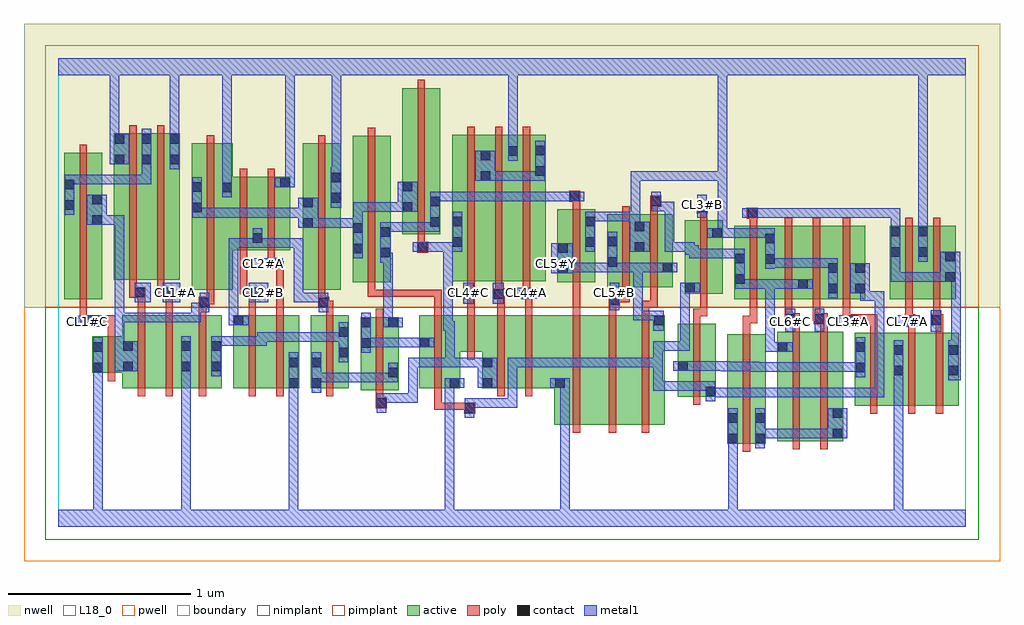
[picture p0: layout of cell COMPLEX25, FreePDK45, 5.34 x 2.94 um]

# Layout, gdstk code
import gdstk
lib = gdstk.Library(unit=1e-6, precision=1e-09)
def R(c, l, rs):  # rectangles x0, y0, x1, y1
    for r in rs: c.add(gdstk.rectangle(r[:2], r[2:], *l))
def A(c, l, x, y, w, h, nx, ny, dx, dy):  # array of equal rectangles
    R(c, l, [(x+i*dx, y+j*dy, x+i*dx+w, y+j*dy+h) for i in range(nx) for j in range(ny)])
active = (1, 0)
pwell = (2, 0)
nwell = (3, 0)
nimplant = (4, 0)
pimplant = (5, 0)
poly = (9, 0)
contact = (10, 0)
metal1 = (11, 0)
L18_0 = (18, 0)
boundary = (235, 0)

complex25 = lib.new_cell('COMPLEX25')
R(complex25, active, [(3.658,0.452,3.866,1.052), (3.658,0.452,3.718,1.052), (3.806,0.452,3.866,0.816), (3.93,0.466,4.11,1.066), (4.11,0.466,4.29,1.066), (4.23,0.466,4.29,0.92), (3.93,0.528,3.99,1.066), (2.712,0.556,2.772,1.156), (2.712,0.556,2.954,1.156), (2.954,0.556,3.106,1.156), (3.106,0.556,3.314,1.156), (3.254,0.556,3.314,1.156), (4.354,0.66,4.622,1.06), (4.562,0.66,4.622,1.06), (4.562,0.66,4.742,1.06), (4.742,0.66,4.922,1.06), (4.862,0.66,4.922,1.06), (3.386,0.71,3.594,1.11), (3.534,0.71,3.594,1.11), (1.652,0.746,1.86,1.146), (1.8,0.746,1.86,1.146), (0.35,0.756,0.53,1.156), (0.35,0.756,0.41,1.04), (0.53,0.756,0.728,1.156), (0.668,0.756,0.892,1.156), (0.668,0.756,0.728,1.018), (0.832,0.756,0.892,1.156), (0.956,0.756,1.016,1.156), (0.956,0.756,1.136,1.156), (1.136,0.756,1.316,1.156), (1.256,0.756,1.316,1.156), (1.38,0.756,1.44,1.156), (1.38,0.756,1.588,1.156), (1.528,0.756,1.588,1.156), (1.652,0.756,1.712,1.146), (1.972,0.756,2.032,1.156), (1.972,0.756,2.196,1.156), (2.136,0.756,2.196,0.956), (2.316,0.756,2.496,1.156), (2.316,0.756,2.376,0.956), (2.496,0.756,2.772,1.156), (3.386,0.756,3.446,0.948), (4.354,0.756,4.414,1.06), (0.186,0.84,0.246,1.04), (0.186,0.84,0.41,1.04), (2.136,0.956,2.376,1.156), (0.032,1.244,0.24,2.044), (0.032,1.244,0.092,2.044), (0.18,1.244,0.24,2.044), (3.696,1.244,3.756,1.644), (3.696,1.244,3.92,1.644), (3.86,1.244,3.92,1.644), (3.86,1.244,4.1,1.644), (4.04,1.244,4.1,1.644), (4.04,1.244,4.264,1.644), (4.204,1.244,4.264,1.644), (4.204,1.244,4.412,1.644), (4.352,1.244,4.412,1.644), (4.546,1.244,4.606,1.644), (4.546,1.244,4.758,1.644), (4.698,1.244,4.758,1.644), (4.698,1.244,4.906,1.644), (4.846,1.244,4.906,1.644), (3.424,1.274,3.632,1.674), (3.424,1.274,3.484,1.644), (3.572,1.274,3.632,1.674), (0.728,1.296,0.788,2.044), (0.728,1.296,0.952,2.096), (1.336,1.296,1.544,2.096), (1.336,1.296,1.396,2.044), (1.484,1.296,1.544,2.096), (3,1.308,3.06,1.708), (3,1.308,3.208,1.708), (3.148,1.308,3.36,1.708), (3.3,1.308,3.36,1.644), (1.608,1.336,1.816,2.136), (1.608,1.336,1.668,2.044), (1.756,1.336,1.816,2.044), (2.728,1.336,2.936,1.736), (2.728,1.336,2.788,1.644), (2.876,1.336,2.936,1.736), (2.152,1.342,2.364,2.142), (2.152,1.342,2.212,2.044), (2.304,1.342,2.516,2.142), (2.456,1.342,2.664,2.142), (0.304,1.35,0.512,2.15), (0.452,1.35,0.664,2.15), (0.604,1.35,0.664,2.15), (2.304,1.412,2.364,2.142), (2.604,1.452,2.664,2.142), (0.452,1.462,0.512,2.15), (3.148,1.498,3.208,1.708), (0.892,1.512,1.118,1.912), (1.058,1.512,1.268,1.912), (1.208,1.512,1.268,1.912), (1.058,1.548,1.118,1.644), (0.892,1.572,0.952,1.884), (0.304,1.576,0.364,2.15), (1.88,1.598,2.088,2.398), (1.88,1.598,1.94,2.044), (2.028,1.598,2.088,2.16), (2.456,1.686,2.516,2.142)])
R(complex25, pwell, [(-0.188,-0.188,5.148,1.2)])
R(complex25, nwell, [(-0.188,1.2,5.148,2.748)])
R(complex25, nimplant, [(-0.072,-0.072,5.032,1.2)])
R(complex25, pimplant, [(-0.072,1.2,5.032,2.632)])
A(complex25, poly, 2.236, 1.262, 0.04, 0.076, 3, 1, 0.152, 0)
A(complex25, poly, 2.236, 1.298, 0.04, 0.888, 3, 1, 0.152, 0)
R(complex25, poly, [(3.742,0.408,3.782,1.096), (4.014,0.422,4.054,1.11), (4.166,0.422,4.206,1.11), (2.812,0.512,2.852,1.2), (3.01,0.512,3.05,1.2), (3.19,0.512,3.23,1.2), (4.438,0.616,4.478,1.104), (4.646,0.616,4.686,1.104), (4.798,0.616,4.838,1.104), (2.218,0.618,2.278,0.678), (2.056,0.638,2.096,0.678), (2.056,0.638,2.096,0.678), (2.056,0.638,2.096,0.678), (2.056,0.638,2.096,0.752), (2.056,0.638,2.258,0.678), (2.218,0.638,2.258,0.678), (2.218,0.638,2.258,0.678), (1.736,0.646,1.796,0.706), (1.736,0.666,1.776,0.742), (3.47,0.666,3.51,1.154), (1.736,0.702,1.776,1.19), (0.434,0.712,0.474,1.2), (0.586,0.712,0.626,1.2), (0.768,0.712,0.808,1.2), (1.04,0.712,1.08,1.2), (1.192,0.712,1.232,1.2), (1.464,0.712,1.504,1.2), (2.056,0.712,2.096,1.2), (2.4,0.712,2.44,1.2), (2.552,0.712,2.592,1.2), (0.27,0.796,0.31,1.084), (2.236,0.912,2.276,1.2), (0.27,1.044,0.31,1.136), (3.742,1.056,3.782,1.152), (4.438,1.064,4.478,1.14), (4.646,1.064,4.686,1.14), (4.798,1.064,4.838,1.14), (4.014,1.07,4.054,1.146), (4.166,1.07,4.206,1.146), (0.136,1.096,0.31,1.156), (4.29,1.1,4.478,1.16), (4.626,1.1,4.686,1.16), (4.646,1.1,4.686,1.14), (4.646,1.1,4.686,1.14), (4.77,1.1,4.838,1.16), (3.972,1.106,4.054,1.166), (4.13,1.106,4.206,1.166), (3.742,1.112,3.82,1.152), (3.78,1.112,3.82,1.152), (3.78,1.112,3.82,1.152), (3.78,1.112,3.82,1.24), (3.47,1.114,3.51,1.19), (0.116,1.116,0.156,1.24), (0.116,1.116,0.176,1.156), (0.136,1.116,0.176,1.156), (4.288,1.12,4.328,1.24), (4.288,1.12,4.33,1.16), (4.29,1.12,4.33,1.16), (4.63,1.12,4.67,1.24), (4.782,1.12,4.822,1.24), (4.782,1.12,4.822,1.16), (4.782,1.12,4.822,1.16), (3.972,1.126,4.012,1.166), (3.972,1.126,4.012,1.166), (3.972,1.126,4.012,1.24), (4.124,1.126,4.164,1.24), (4.124,1.126,4.17,1.166), (4.13,1.126,4.17,1.166), (3.47,1.15,3.548,1.19), (3.508,1.15,3.548,1.27), (3.508,1.15,3.548,1.19), (3.508,1.15,3.548,1.19), (0.434,1.16,0.474,1.29), (0.586,1.16,0.626,1.29), (0.768,1.16,0.808,1.236), (1.04,1.16,1.08,1.29), (1.192,1.16,1.232,1.45), (1.464,1.16,1.504,1.236), (2.056,1.16,2.096,1.296), (2.236,1.16,2.276,1.282), (2.4,1.16,2.44,1.282), (2.552,1.16,2.592,1.282), (2.812,1.16,2.852,1.236), (3.01,1.16,3.05,1.248), (3.19,1.16,3.23,1.236), (0.768,1.196,0.828,1.256), (1.42,1.196,1.48,1.256), (1.44,1.196,1.48,1.236), (1.44,1.196,1.504,1.236), (2.812,1.196,2.852,1.236), (2.812,1.196,2.852,1.236), (2.812,1.196,2.852,1.236), (2.812,1.196,2.852,1.332), (3.19,1.196,3.244,1.236), (3.204,1.196,3.244,1.236), (3.204,1.196,3.276,1.236), (3.236,1.196,3.276,1.304), (0.116,1.2,0.156,2.088), (3.78,1.2,3.82,1.688), (3.972,1.2,4.012,1.688), (4.124,1.2,4.164,1.688), (4.288,1.2,4.328,1.688), (4.63,1.2,4.67,1.688), (4.782,1.2,4.822,1.688), (3.01,1.208,3.07,1.268), (0.788,1.216,0.828,1.256), (0.788,1.216,0.852,1.256), (0.812,1.216,0.852,1.292), (1.42,1.216,1.46,1.292), (3.03,1.228,3.07,1.268), (3.03,1.228,3.124,1.268), (3.084,1.228,3.124,1.304), (3.508,1.23,3.548,1.718), (2.216,1.242,2.276,1.302), (2.38,1.242,2.44,1.302), (2.532,1.242,2.592,1.302), (0.388,1.25,0.474,1.31), (0.434,1.25,0.474,1.29), (0.434,1.25,0.474,1.29), (0.54,1.25,0.626,1.31), (0.586,1.25,0.626,1.29), (0.586,1.25,0.626,1.29), (1.038,1.25,1.098,1.31), (0.812,1.252,0.852,2.14), (1.42,1.252,1.46,2.14), (1.692,1.256,1.732,1.296), (1.692,1.256,1.732,1.296), (1.692,1.256,1.732,1.296), (1.692,1.256,1.732,1.332), (1.692,1.256,1.896,1.296), (1.856,1.256,1.896,1.296), (1.856,1.256,1.896,1.296), (1.856,1.256,1.896,1.296), (1.856,1.256,2.096,1.296), (2.056,1.256,2.096,1.296), (2.236,1.262,2.276,1.302), (2.236,1.262,2.276,1.302), (2.388,1.262,2.428,1.302), (2.388,1.262,2.428,1.302), (2.54,1.262,2.58,1.302), (2.54,1.262,2.58,1.302), (3.084,1.264,3.124,1.752), (3.236,1.264,3.276,1.752), (0.388,1.27,0.428,1.346), (0.54,1.27,0.58,1.346), (0.992,1.27,1.032,1.508), (0.992,1.27,1.078,1.31), (1.038,1.27,1.078,1.31), (1.692,1.292,1.732,2.18), (2.812,1.292,2.852,1.78), (0.388,1.306,0.428,2.194), (0.54,1.306,0.58,2.194), (1.144,1.41,1.204,1.47), (1.164,1.41,1.204,1.45), (1.164,1.41,1.232,1.45), (1.144,1.43,1.184,1.508), (0.992,1.468,1.032,1.956), (1.144,1.468,1.184,1.956), (1.962,1.498,2.022,1.558), (1.964,1.518,2.004,1.594), (1.964,1.554,2.004,2.442), (3.78,1.648,3.82,1.724), (3.508,1.678,3.548,1.754), (3.764,1.684,3.824,1.744), (3.236,1.712,3.276,1.788), (3.49,1.714,3.55,1.774), (2.812,1.74,2.852,1.816), (3.236,1.748,3.296,1.808), (2.792,1.776,2.852,1.836)])
R(complex25, contact, [(3.662,0.456,3.714,0.508), (3.81,0.456,3.862,0.508), (4.234,0.484,4.286,0.536), (3.662,0.568,3.714,0.62), (3.81,0.568,3.862,0.62), (4.234,0.596,4.286,0.648), (2.222,0.622,2.274,0.674), (1.74,0.65,1.792,0.702), (3.538,0.714,3.59,0.766), (1.26,0.76,1.312,0.812), (1.384,0.76,1.436,0.812), (2.14,0.76,2.192,0.812), (2.32,0.76,2.372,0.812), (2.716,0.76,2.768,0.812), (1.804,0.816,1.856,0.868), (4.566,0.828,4.618,0.88), (4.866,0.828,4.918,0.88), (0.19,0.844,0.242,0.896), (4.358,0.844,4.41,0.896), (0.354,0.85,0.406,0.902), (0.672,0.85,0.724,0.902), (0.836,0.85,0.888,0.902), (3.39,0.852,3.442,0.904), (1.26,0.872,1.312,0.924), (1.384,0.872,1.436,0.924), (2.32,0.872,2.372,0.924), (1.532,0.926,1.584,0.978), (4.566,0.94,4.618,0.992), (4.866,0.94,4.918,0.992), (0.19,0.956,0.242,1.008), (3.934,0.956,3.986,1.008), (4.358,0.956,4.41,1.008), (0.354,0.962,0.406,1.014), (0.672,0.962,0.724,1.014), (0.836,0.962,0.888,1.014), (1.656,0.978,1.708,1.03), (1.976,0.98,2.028,1.032), (1.532,1.038,1.584,1.09), (1.656,1.09,1.708,1.142), (1.804,1.09,1.856,1.142), (0.14,1.1,0.192,1.152), (0.96,1.1,1.012,1.152), (3.258,1.1,3.31,1.152), (4.294,1.104,4.346,1.156), (4.63,1.104,4.682,1.156), (4.774,1.104,4.826,1.156), (3.976,1.11,4.028,1.162), (4.134,1.11,4.186,1.162), (0.772,1.2,0.824,1.252), (1.424,1.2,1.476,1.252), (3.014,1.212,3.066,1.264), (2.22,1.246,2.272,1.298), (2.384,1.246,2.436,1.298), (2.536,1.246,2.588,1.298), (0.418,1.254,0.47,1.306), (0.57,1.254,0.622,1.306), (1.042,1.254,1.094,1.306), (4.208,1.276,4.26,1.328), (4.356,1.276,4.408,1.328), (3.428,1.282,3.48,1.334), (4.044,1.3,4.096,1.352), (3.7,1.328,3.752,1.38), (4.85,1.338,4.902,1.39), (2.732,1.386,2.784,1.438), (4.208,1.388,4.26,1.44), (4.356,1.388,4.408,1.44), (3.304,1.392,3.356,1.444), (1.148,1.414,1.2,1.466), (3.004,1.42,3.056,1.472), (3.864,1.438,3.916,1.49), (3.7,1.44,3.752,1.492), (4.85,1.45,4.902,1.502), (1.76,1.472,1.812,1.524), (4.55,1.476,4.602,1.528), (4.702,1.476,4.754,1.528), (1.612,1.494,1.664,1.546), (2.732,1.498,2.784,1.55), (1.966,1.502,2.018,1.554), (3.152,1.502,3.204,1.554), (2.156,1.53,2.208,1.582), (2.88,1.53,2.932,1.582), (3.004,1.532,3.056,1.584), (3.864,1.55,3.916,1.602), (1.062,1.552,1.114,1.604), (3.576,1.578,3.628,1.63), (1.76,1.584,1.812,1.636), (4.55,1.588,4.602,1.64), (4.702,1.588,4.754,1.64), (1.612,1.606,1.664,1.658), (3.152,1.614,3.204,1.666), (1.34,1.634,1.392,1.686), (2.032,1.64,2.084,1.692), (2.156,1.642,2.208,1.694), (2.88,1.642,2.932,1.694), (0.184,1.65,0.236,1.702), (3.768,1.688,3.82,1.74), (0.732,1.718,0.784,1.77), (3.494,1.718,3.546,1.77), (1.884,1.722,1.936,1.774), (0.036,1.732,0.088,1.784), (1.34,1.746,1.392,1.798), (2.032,1.752,2.084,1.804), (3.24,1.752,3.292,1.804), (0.184,1.762,0.236,1.814), (1.488,1.772,1.54,1.824), (2.796,1.78,2.848,1.832), (0.896,1.828,0.948,1.88), (0.732,1.83,0.784,1.882), (1.884,1.834,1.936,1.886), (0.036,1.844,0.088,1.896), (1.212,1.856,1.264,1.908), (1.488,1.884,1.54,1.936), (2.308,1.89,2.36,1.942), (2.608,1.918,2.66,1.97), (0.308,1.982,0.36,2.034), (0.456,1.982,0.508,2.034), (0.608,1.982,0.66,2.034), (2.308,2.002,2.36,2.054), (2.46,2.028,2.512,2.08), (2.608,2.03,2.66,2.082), (0.308,2.094,0.36,2.146), (0.456,2.094,0.508,2.146), (0.608,2.094,0.66,2.146)])
A(complex25, metal1, 0.732, 1.69, 0.162, 0.052, 3, 1, 0.11, 0)
A(complex25, metal1, 0.842, 1.69, 0.052, 0.052, 3, 1, 0.11, 0)
R(complex25, metal1, [(0,0,4.96,0.092), (0.19,0.04,0.242,0.092), (0.19,0.04,0.242,0.092), (0.19,0.04,0.242,0.092), (0.19,0.04,0.242,0.092), (0.19,0.04,0.242,0.092), (0.19,0.04,0.242,0.092), (0.19,0.04,0.242,0.092), (0.19,0.04,0.242,0.092), (0.19,0.04,0.242,0.092), (0.19,0.04,0.242,0.092), (0.19,0.04,0.242,0.092), (0.19,0.04,0.242,0.092), (0.19,0.04,0.242,0.092), (0.19,0.04,0.242,0.092), (0.19,0.04,0.242,0.092), (0.19,0.04,0.242,0.092), (0.19,0.04,0.242,0.868), (0.672,0.04,0.724,0.092), (0.672,0.04,0.724,0.092), (0.672,0.04,0.724,0.092), (0.672,0.04,0.724,0.092), (0.672,0.04,0.724,0.092), (0.672,0.04,0.724,0.092), (0.672,0.04,0.724,0.092), (0.672,0.04,0.724,0.092), (0.672,0.04,0.724,0.092), (0.672,0.04,0.724,0.092), (0.672,0.04,0.724,0.092), (0.672,0.04,0.724,0.092), (0.672,0.04,0.724,0.874), (1.26,0.04,1.312,0.092), (1.26,0.04,1.312,0.092), (1.26,0.04,1.312,0.092), (1.26,0.04,1.312,0.092), (1.26,0.04,1.312,0.092), (1.26,0.04,1.312,0.092), (1.26,0.04,1.312,0.092), (1.26,0.04,1.312,0.092), (1.26,0.04,1.312,0.092), (1.26,0.04,1.312,0.092), (1.26,0.04,1.312,0.092), (1.26,0.04,1.312,0.092), (1.26,0.04,1.312,0.784), (2.112,0.04,2.164,0.092), (2.112,0.04,2.164,0.092), (2.112,0.04,2.164,0.092), (2.112,0.04,2.164,0.092), (2.112,0.04,2.164,0.092), (2.112,0.04,2.164,0.092), (2.112,0.04,2.164,0.092), (2.112,0.04,2.164,0.092), (2.112,0.04,2.164,0.092), (2.112,0.04,2.164,0.092), (2.112,0.04,2.164,0.092), (2.112,0.04,2.164,0.092), (2.112,0.04,2.164,0.812), (2.744,0.04,2.796,0.092), (2.744,0.04,2.796,0.092), (2.744,0.04,2.796,0.092), (2.744,0.04,2.796,0.092), (2.744,0.04,2.796,0.092), (2.744,0.04,2.796,0.092), (2.744,0.04,2.796,0.092), (2.744,0.04,2.796,0.092), (2.744,0.04,2.796,0.812), (3.662,0.04,3.714,0.092), (3.662,0.04,3.714,0.092), (3.662,0.04,3.714,0.092), (3.662,0.04,3.714,0.092), (3.662,0.04,3.714,0.48), (4.566,0.04,4.618,0.092), (4.566,0.04,4.618,0.092), (4.566,0.04,4.618,0.092), (4.566,0.04,4.618,0.092), (4.566,0.04,4.618,0.092), (4.566,0.04,4.618,0.092), (4.566,0.04,4.618,0.092), (4.566,0.04,4.618,0.092), (4.566,0.04,4.618,0.092), (4.566,0.04,4.618,0.092), (4.566,0.04,4.618,0.092), (4.566,0.04,4.618,0.092), (4.566,0.04,4.618,0.852), (3.662,0.428,3.714,0.48), (3.662,0.428,3.714,0.48), (3.662,0.428,3.714,0.48), (3.662,0.428,3.714,0.48), (3.662,0.428,3.714,0.648), (3.81,0.428,3.862,0.648), (3.81,0.484,3.958,0.536), (3.906,0.484,3.958,0.536), (3.906,0.484,4.026,0.536), (3.974,0.484,4.026,0.536), (3.974,0.484,4.068,0.536), (4.016,0.484,4.068,0.536), (4.016,0.484,4.136,0.536), (4.084,0.484,4.136,0.536), (4.084,0.484,4.258,0.536), (4.206,0.484,4.314,0.648), (2.222,0.594,2.274,0.702), (1.74,0.622,1.792,0.73), (2.222,0.65,2.384,0.702), (2.332,0.65,2.384,0.702), (2.332,0.65,2.384,0.702), (2.332,0.65,2.384,0.702), (2.332,0.65,2.51,0.702), (2.458,0.65,2.51,0.702), (2.458,0.65,2.51,0.922), (1.74,0.678,1.818,0.73), (1.766,0.678,1.818,0.73), (1.766,0.678,1.966,0.73), (1.914,0.678,1.966,0.73), (1.914,0.678,1.966,0.922), (3.538,0.686,3.59,0.794), (3.538,0.706,3.746,0.758), (3.694,0.706,3.746,0.758), (3.694,0.706,3.848,0.758), (3.796,0.706,3.848,0.758), (3.796,0.706,3.862,0.758), (3.81,0.706,3.862,0.758), (3.81,0.706,3.958,0.758), (3.906,0.706,3.958,0.758), (3.906,0.706,4.026,0.758), (3.974,0.706,4.026,0.758), (3.974,0.706,4.068,0.758), (4.016,0.706,4.068,0.758), (4.016,0.706,4.158,0.758), (4.106,0.706,4.158,0.758), (4.106,0.706,4.178,0.758), (4.126,0.706,4.178,0.758), (4.126,0.706,4.268,0.758), (4.216,0.706,4.268,0.758), (4.216,0.706,4.492,0.758), (4.44,0.706,4.492,0.758), (4.44,0.706,4.514,0.758), (4.462,0.706,4.514,0.758), (4.462,0.706,4.514,0.758), (4.462,0.706,4.514,0.758), (4.462,0.706,4.514,1.288), (1.26,0.732,1.312,0.952), (1.384,0.732,1.436,0.952), (3.252,0.742,3.48,0.794), (3.252,0.742,3.304,0.922), (3.428,0.742,3.48,0.794), (3.428,0.742,3.48,0.794), (3.428,0.742,3.48,0.794), (3.428,0.742,3.59,0.794), (2.112,0.76,2.22,0.812), (2.292,0.76,2.4,0.924), (2.688,0.76,2.796,0.812), (1.384,0.788,1.546,0.84), (1.494,0.788,1.546,0.84), (1.494,0.788,1.546,0.84), (1.494,0.788,1.546,0.84), (1.494,0.788,1.702,0.84), (1.65,0.788,1.702,0.84), (1.65,0.788,1.702,0.84), (1.65,0.788,1.702,0.84), (1.65,0.788,1.856,0.84), (1.804,0.788,1.856,0.896), (4.566,0.8,4.618,1.02), (4.866,0.8,4.934,1.02), (0.19,0.816,0.242,1.036), (4.358,0.816,4.41,1.036), (0.672,0.822,0.724,1.042), (0.836,0.822,0.888,1.042), (3.78,0.846,3.862,0.898), (3.78,0.846,3.832,0.902), (3.81,0.846,3.862,0.898), (3.81,0.846,3.958,0.898), (3.906,0.846,3.958,0.898), (3.906,0.846,4.026,0.898), (3.974,0.846,4.026,0.898), (3.974,0.846,4.068,0.898), (4.016,0.846,4.068,0.898), (4.016,0.846,4.158,0.898), (4.106,0.846,4.158,0.898), (4.106,0.846,4.208,0.898), (4.156,0.846,4.208,0.898), (4.156,0.846,4.41,0.898), (0.308,0.85,0.434,1.014), (3.62,0.85,3.832,0.902), (3.62,0.85,3.672,0.904), (3.362,0.852,3.47,0.904), (3.418,0.852,3.48,0.904), (3.428,0.852,3.48,0.904), (3.428,0.852,3.672,0.904), (3.62,0.852,3.672,0.904), (3.62,0.852,3.672,0.904), (1.914,0.87,1.966,0.922), (1.914,0.87,1.966,0.922), (1.914,0.87,1.966,0.922), (1.914,0.87,1.966,0.922), (1.914,0.87,1.966,0.922), (1.914,0.87,2.076,0.922), (2.024,0.87,2.076,0.922), (2.024,0.87,2.166,0.922), (2.114,0.87,2.166,0.922), (2.114,0.87,2.166,0.922), (2.114,0.87,2.166,0.922), (2.114,0.87,2.266,0.922), (2.114,0.87,2.166,1.122), (2.214,0.87,2.266,0.922), (2.214,0.87,2.344,0.922), (2.458,0.87,2.51,0.922), (2.458,0.87,2.636,0.922), (2.584,0.87,2.636,0.922), (2.584,0.87,2.636,0.922), (2.584,0.87,2.636,0.922), (2.584,0.87,2.746,0.922), (2.694,0.87,2.746,0.922), (2.694,0.87,2.746,0.922), (2.694,0.87,2.746,0.922), (2.694,0.87,2.946,0.922), (2.894,0.87,2.946,0.922), (2.894,0.87,2.946,0.922), (2.894,0.87,2.946,0.922), (2.894,0.87,3.166,0.922), (3.114,0.87,3.166,0.922), (3.114,0.87,3.166,0.922), (3.114,0.87,3.166,0.922), (3.114,0.87,3.304,0.922), (3.252,0.87,3.304,0.922), (3.252,0.87,3.304,0.922), (3.252,0.87,3.304,0.922), (3.252,0.87,3.304,0.922), (3.252,0.87,3.304,1.014), (1.532,0.898,1.584,1.118), (1.656,0.95,1.708,1.17), (3.864,0.956,3.916,1.008), (3.864,0.956,3.958,1.008), (3.864,0.956,3.916,1.352), (3.906,0.956,4.014,1.008), (0.308,0.962,0.36,1.168), (3.252,0.962,3.304,1.014), (3.252,0.962,3.452,1.014), (3.4,0.962,3.452,1.014), (3.4,0.962,3.452,1.014), (3.4,0.962,3.452,1.014), (3.4,0.962,3.452,1.014), (3.4,0.962,3.452,1.014), (3.4,0.962,3.452,1.014), (3.4,0.962,3.452,1.014), (3.4,0.962,3.452,1.334), (4.882,0.968,4.934,1.39), (1.656,0.98,1.708,1.032), (1.656,0.98,1.708,1.032), (1.656,0.98,1.818,1.032), (1.766,0.98,1.818,1.032), (1.766,0.98,2,1.032), (1.948,0.98,2.056,1.032), (0.836,0.99,1.004,1.042), (0.952,0.99,1.004,1.042), (0.952,0.99,1.004,1.042), (0.952,0.99,1.004,1.042), (0.952,0.99,1.126,1.042), (1.074,0.99,1.126,1.042), (1.074,0.99,1.14,1.042), (1.088,0.99,1.14,1.062), (1.088,1.01,1.338,1.062), (1.286,1.01,1.338,1.062), (1.286,1.01,1.338,1.062), (1.286,1.01,1.338,1.062), (1.286,1.01,1.554,1.062), (1.502,1.01,1.554,1.062), (1.502,1.01,1.584,1.062), (3.974,1.066,4.028,1.19), (4.134,1.066,4.186,1.19), (4.77,1.066,4.826,1.184), (2.104,1.07,2.166,1.122), (2.104,1.07,2.156,1.554), (3.252,1.072,3.31,1.18), (1.776,1.09,1.884,1.142), (1.776,1.09,1.828,1.496), (0.106,1.094,0.22,1.152), (4.266,1.094,4.374,1.156), (4.586,1.094,4.71,1.156), (0.932,1.1,1.04,1.152), (0.932,1.1,0.984,1.576), (0.308,1.116,0.36,1.168), (0.308,1.116,0.36,1.168), (0.308,1.116,0.36,1.168), (0.308,1.116,0.47,1.168), (0.308,1.116,0.36,1.702), (0.418,1.116,0.47,1.168), (0.418,1.116,0.47,1.168), (0.418,1.116,0.47,1.168), (0.418,1.116,0.668,1.168), (0.616,1.116,0.668,1.168), (0.616,1.116,0.668,1.168), (0.616,1.116,0.668,1.168), (0.616,1.116,0.778,1.168), (0.726,1.116,0.778,1.224), (3.142,1.128,3.194,1.18), (3.142,1.128,3.194,1.18), (3.142,1.128,3.194,1.18), (3.142,1.128,3.194,1.18), (3.142,1.128,3.194,1.18), (3.142,1.128,3.304,1.18), (3.142,1.128,3.194,1.444), (3.252,1.128,3.304,1.18), (3.252,1.128,3.304,1.18), (0.726,1.172,0.824,1.224), (0.772,1.172,0.824,1.28), (1.424,1.172,1.476,1.28), (3.014,1.184,3.066,1.334), (2.214,1.218,2.272,1.334), (2.374,1.218,2.436,1.334), (0.418,1.226,0.506,1.334), (0.57,1.226,0.666,1.334), (1.042,1.226,1.146,1.334), (1.286,1.228,1.338,1.28), (1.286,1.228,1.338,1.28), (1.286,1.228,1.338,1.28), (1.286,1.228,1.476,1.28), (1.286,1.228,1.338,1.576), (4.384,1.236,4.436,1.328), (4.384,1.236,4.484,1.288), (4.432,1.236,4.484,1.288), (4.432,1.236,4.484,1.288), (4.432,1.236,4.484,1.288), (4.432,1.236,4.484,1.288), (4.432,1.236,4.484,1.288), (4.432,1.236,4.514,1.288), (2.506,1.246,2.618,1.306), (4.208,1.248,4.26,1.468), (4.328,1.276,4.436,1.44), (3.4,1.282,3.508,1.334), (3.7,1.3,3.752,1.52), (3.7,1.3,3.782,1.352), (3.73,1.3,3.782,1.352), (3.73,1.3,3.916,1.352), (3.864,1.3,3.916,1.352), (3.864,1.3,3.916,1.352), (3.864,1.3,3.916,1.352), (3.864,1.3,3.916,1.352), (3.864,1.3,3.916,1.352), (3.864,1.3,3.916,1.352), (3.864,1.3,3.916,1.352), (3.864,1.3,3.916,1.352), (3.864,1.3,3.916,1.352), (3.864,1.3,3.958,1.352), (3.906,1.3,3.958,1.352), (3.906,1.3,4.026,1.352), (3.974,1.3,4.026,1.352), (3.974,1.3,4.068,1.352), (4.016,1.3,4.124,1.352), (4.55,1.338,4.602,1.39), (4.55,1.338,4.712,1.39), (4.55,1.338,4.602,1.5), (4.66,1.338,4.712,1.39), (4.66,1.338,4.712,1.39), (4.66,1.338,4.712,1.39), (4.66,1.338,4.874,1.39), (4.822,1.338,4.874,1.39), (4.822,1.338,4.874,1.39), (4.822,1.338,4.93,1.502), (4.878,1.338,4.93,1.39), (4.878,1.338,4.934,1.39), (4.882,1.338,4.934,1.39), (4.882,1.338,4.934,1.39), (4.882,1.338,4.934,1.39), (4.882,1.338,4.934,1.39), (4.882,1.338,4.934,1.39), (4.882,1.338,4.934,1.39), (2.694,1.386,2.812,1.55), (2.76,1.392,2.812,1.444), (2.76,1.392,2.812,1.444), (2.76,1.392,2.93,1.444), (2.878,1.392,2.93,1.444), (2.878,1.392,3.056,1.444), (3.004,1.392,3.056,1.444), (3.004,1.392,3.056,1.444), (3.004,1.392,3.056,1.612), (3.004,1.392,3.194,1.444), (3.142,1.392,3.194,1.444), (3.142,1.392,3.194,1.444), (3.142,1.392,3.194,1.444), (3.142,1.392,3.286,1.444), (3.234,1.392,3.286,1.444), (3.234,1.392,3.328,1.444), (3.276,1.392,3.384,1.444), (3.864,1.41,3.916,1.63), (1.066,1.414,1.228,1.466), (3.864,1.416,3.958,1.468), (3.906,1.416,3.958,1.468), (3.906,1.416,4.026,1.468), (3.974,1.416,4.026,1.468), (3.974,1.416,4.068,1.468), (4.016,1.416,4.068,1.468), (4.016,1.416,4.158,1.468), (4.106,1.416,4.158,1.468), (4.106,1.416,4.26,1.468), (1.76,1.444,1.818,1.664), (1.766,1.444,1.818,1.496), (1.766,1.444,1.818,1.496), (1.766,1.444,1.818,1.496), (1.766,1.444,1.828,1.496), (4.55,1.448,4.602,1.668), (4.702,1.448,4.754,1.668), (1.612,1.466,1.664,1.686), (3.45,1.468,3.59,1.52), (3.45,1.468,3.502,1.538), (3.538,1.468,3.59,1.52), (3.538,1.468,3.752,1.52), (3.428,1.486,3.502,1.538), (3.428,1.486,3.48,1.554), (1.938,1.502,2.046,1.554), (1.994,1.502,2.156,1.554), (2.104,1.502,2.156,1.554), (2.104,1.502,2.156,1.554), (2.104,1.502,2.156,1.554), (2.104,1.502,2.156,1.554), (2.104,1.502,2.208,1.554), (2.156,1.502,2.208,1.554), (2.156,1.502,2.208,1.722), (2.88,1.502,2.932,1.722), (3.124,1.502,3.232,1.666), (3.314,1.502,3.366,1.554), (3.314,1.502,3.366,1.554), (3.314,1.502,3.366,1.554), (3.314,1.502,3.48,1.554), (3.314,1.502,3.366,1.776), (0.932,1.524,0.984,1.576), (0.932,1.524,0.984,1.576), (0.932,1.524,0.984,1.576), (0.932,1.524,0.984,1.576), (0.932,1.524,0.984,1.576), (0.932,1.524,1.004,1.576), (0.952,1.524,1.004,1.576), (0.952,1.524,1.114,1.576), (1.062,1.524,1.114,1.576), (1.062,1.524,1.114,1.576), (1.062,1.524,1.338,1.576), (1.062,1.524,1.114,1.632), (1.286,1.524,1.338,1.576), (3.548,1.578,3.656,1.63), (3.604,1.578,3.656,1.63), (3.604,1.578,3.656,1.63), (3.604,1.578,3.782,1.63), (3.604,1.578,3.656,1.942), (3.73,1.578,3.782,1.63), (3.73,1.578,3.916,1.63), (1.766,1.612,1.966,1.664), (1.914,1.612,1.966,1.664), (1.914,1.612,1.966,1.664), (1.914,1.612,1.966,1.664), (1.914,1.612,2.084,1.664), (2.032,1.612,2.084,1.832), (3.124,1.614,3.176,1.666), (3.124,1.614,3.176,1.722), (3.13,1.614,3.182,1.942), (4.55,1.616,4.602,1.74), (4.702,1.616,4.754,1.668), (4.702,1.616,4.754,1.668), (4.702,1.616,4.754,1.668), (4.702,1.616,4.754,1.668), (4.702,1.616,4.754,2.52), (1.312,1.634,1.42,1.798), (1.368,1.634,1.546,1.686), (1.494,1.634,1.546,1.686), (1.494,1.634,1.546,1.686), (1.494,1.634,1.546,1.686), (1.494,1.634,1.664,1.686), (1.612,1.634,1.664,1.774), (0.156,1.65,0.264,1.814), (0.212,1.65,0.264,1.702), (0.212,1.65,0.36,1.702), (2.88,1.67,2.932,1.722), (2.88,1.67,2.932,1.722), (2.88,1.67,3.176,1.722), (3.74,1.688,3.848,1.74), (3.796,1.688,3.862,1.74), (3.81,1.688,3.862,1.74), (3.81,1.688,3.958,1.74), (3.906,1.688,3.958,1.74), (3.906,1.688,4.026,1.74), (3.974,1.688,4.026,1.74), (3.974,1.688,4.068,1.74), (4.016,1.688,4.068,1.74), (4.016,1.688,4.158,1.74), (4.106,1.688,4.158,1.74), (4.106,1.688,4.178,1.74), (4.126,1.688,4.178,1.74), (4.126,1.688,4.268,1.74), (4.216,1.688,4.268,1.74), (4.216,1.688,4.49,1.74), (4.438,1.688,4.49,1.74), (4.438,1.688,4.49,1.74), (4.438,1.688,4.49,1.74), (4.438,1.688,4.602,1.74), (4.55,1.688,4.602,1.74), (0.732,1.69,0.784,1.742), (0.732,1.69,0.784,1.742), (0.732,1.69,0.784,1.91), (0.842,1.69,0.894,1.742), (0.842,1.69,0.894,1.742), (1.062,1.69,1.114,1.742), (1.062,1.69,1.114,1.742), (1.062,1.69,1.364,1.742), (1.312,1.69,1.364,1.742), (1.312,1.69,1.364,1.742), (3.494,1.69,3.546,1.814), (0.036,1.704,0.088,1.924), (1.612,1.722,1.664,1.774), (1.612,1.722,1.664,1.774), (1.612,1.722,1.664,1.774), (1.612,1.722,1.856,1.774), (1.804,1.722,1.856,1.774), (1.804,1.722,1.908,1.774), (1.856,1.722,1.964,1.886), (3.24,1.724,3.292,1.832), (3.24,1.724,3.366,1.776), (3.314,1.724,3.366,1.776), (1.488,1.744,1.546,1.964), (2.032,1.78,2.084,1.832), (2.032,1.78,2.084,1.832), (2.032,1.78,2.084,1.832), (2.032,1.78,2.084,1.832), (2.032,1.78,2.084,1.832), (2.032,1.78,2.084,1.832), (2.032,1.78,2.222,1.832), (2.17,1.78,2.222,1.832), (2.17,1.78,2.274,1.832), (2.222,1.78,2.274,1.832), (2.222,1.78,2.384,1.832), (2.332,1.78,2.384,1.832), (2.332,1.78,2.384,1.832), (2.332,1.78,2.384,1.832), (2.332,1.78,2.526,1.832), (2.474,1.78,2.526,1.832), (2.474,1.78,2.526,1.832), (2.474,1.78,2.526,1.832), (2.474,1.78,2.636,1.832), (2.584,1.78,2.636,1.832), (2.584,1.78,2.82,1.832), (2.768,1.78,2.82,1.832), (2.768,1.78,2.82,1.832), (2.768,1.78,2.82,1.832), (2.768,1.78,2.82,1.832), (2.768,1.78,2.876,1.832), (0.896,1.8,0.948,1.908), (0.896,1.856,0.948,2.52), (1.184,1.856,1.292,1.908), (1.24,1.856,1.292,2.52), (0.036,1.872,0.088,1.924), (0.036,1.872,0.088,1.924), (0.036,1.872,0.36,1.924), (0.308,1.872,0.36,1.924), (0.308,1.872,0.36,1.924), (0.308,1.872,0.36,1.924), (0.308,1.872,0.508,1.924), (0.456,1.872,0.508,2.006), (2.28,1.89,2.388,2.054), (2.336,1.89,2.388,1.942), (2.336,1.89,2.388,1.942), (2.336,1.89,2.498,1.942), (2.446,1.89,2.498,1.942), (2.446,1.89,2.498,1.942), (2.446,1.89,2.498,1.942), (2.446,1.89,2.66,1.942), (2.608,1.89,2.66,2.11), (3.13,1.89,3.182,1.942), (3.13,1.89,3.182,1.942), (3.13,1.89,3.182,1.942), (3.13,1.89,3.304,1.942), (3.252,1.89,3.304,1.942), (3.252,1.89,3.304,1.942), (3.252,1.89,3.304,1.942), (3.252,1.89,3.48,1.942), (3.428,1.89,3.48,1.942), (3.428,1.89,3.48,1.942), (3.428,1.89,3.48,1.942), (3.428,1.89,3.656,1.942), (3.604,1.89,3.656,1.942), (3.604,1.89,3.656,1.942), (3.604,1.89,3.656,1.942), (3.604,1.89,3.656,1.942), (3.604,1.89,3.656,1.942), (3.604,1.89,3.656,1.942), (3.604,1.89,3.656,1.942), (3.604,1.89,3.656,1.942), (3.604,1.89,3.656,1.942), (3.604,1.89,3.656,1.942), (3.604,1.89,3.656,1.942), (3.604,1.89,3.656,1.942), (3.604,1.89,3.656,1.942), (3.604,1.89,3.656,1.942), (3.604,1.89,3.656,1.942), (3.604,1.89,3.656,2.52), (1.494,1.912,1.546,2.52), (0.456,1.954,0.508,2.006), (0.456,1.954,0.508,2.174), (0.608,1.954,0.66,2.174), (0.28,1.982,0.388,2.146), (2.46,2,2.512,2.108), (2.46,2.056,2.512,2.52), (0.28,2.094,0.332,2.146), (0.28,2.094,0.332,2.146), (0.28,2.094,0.332,2.146), (0.28,2.094,0.332,2.146), (0.28,2.094,0.332,2.146), (0.28,2.094,0.332,2.146), (0.28,2.094,0.332,2.52), (0.608,2.122,0.66,2.174), (0.608,2.122,0.66,2.174), (0.608,2.122,0.66,2.174), (0.608,2.122,0.66,2.174), (0.608,2.122,0.66,2.174), (0.608,2.122,0.66,2.174), (0.608,2.122,0.66,2.52), (0,2.468,4.96,2.56), (0.28,2.468,0.332,2.52), (0.28,2.468,0.332,2.52), (0.608,2.468,0.66,2.52), (0.608,2.468,0.66,2.52), (0.896,2.468,0.948,2.52), (0.896,2.468,0.948,2.52), (0.896,2.468,0.948,2.52), (0.896,2.468,0.948,2.52), (0.896,2.468,0.948,2.52), (0.896,2.468,0.948,2.52), (0.896,2.468,0.948,2.52), (0.896,2.468,0.948,2.52), (1.24,2.468,1.292,2.52), (1.24,2.468,1.292,2.52), (1.24,2.468,1.292,2.52), (1.24,2.468,1.292,2.52), (1.24,2.468,1.292,2.52), (1.24,2.468,1.292,2.52), (1.24,2.468,1.292,2.52), (1.24,2.468,1.292,2.52), (1.24,2.468,1.292,2.52), (1.24,2.468,1.292,2.52), (1.24,2.468,1.292,2.52), (1.24,2.468,1.292,2.52), (1.24,2.468,1.292,2.52), (1.24,2.468,1.292,2.52), (1.24,2.468,1.292,2.52), (1.24,2.468,1.292,2.52), (1.494,2.468,1.546,2.52), (1.494,2.468,1.546,2.52), (1.494,2.468,1.546,2.52), (1.494,2.468,1.546,2.52), (1.494,2.468,1.546,2.52), (1.494,2.468,1.546,2.52), (1.494,2.468,1.546,2.52), (1.494,2.468,1.546,2.52), (2.46,2.468,2.512,2.52), (2.46,2.468,2.512,2.52), (2.46,2.468,2.512,2.52), (2.46,2.468,2.512,2.52), (2.46,2.468,2.512,2.52), (2.46,2.468,2.512,2.52), (2.46,2.468,2.512,2.52), (2.46,2.468,2.512,2.52), (4.702,2.468,4.754,2.52), (4.702,2.468,4.754,2.52), (4.702,2.468,4.754,2.52), (4.702,2.468,4.754,2.52), (4.702,2.468,4.754,2.52), (4.702,2.468,4.754,2.52), (4.702,2.468,4.754,2.52), (4.702,2.468,4.754,2.52), (4.702,2.468,4.754,2.52), (4.702,2.468,4.754,2.52), (4.702,2.468,4.754,2.52), (4.702,2.468,4.754,2.52)])
A(complex25, L18_0, 3.974, 1.094, 0.052, 0.052, 3, 1, 0.16, 0)
A(complex25, L18_0, 2.214, 1.254, 0.052, 0.052, 3, 1, 0.16, 0)
R(complex25, L18_0, [(0,0,4.96,0.092), (0.19,0.04,0.242,0.092), (0.19,0.04,0.242,0.092), (0.19,0.04,0.242,0.092), (0.19,0.04,0.242,0.092), (0.19,0.04,0.242,0.092), (0.19,0.04,0.242,0.092), (0.19,0.04,0.242,0.092), (0.19,0.04,0.242,0.092), (0.19,0.04,0.242,0.092), (0.19,0.04,0.242,0.092), (0.19,0.04,0.242,0.092), (0.19,0.04,0.242,0.092), (0.19,0.04,0.242,0.092), (0.19,0.04,0.242,0.092), (0.19,0.04,0.242,0.092), (0.19,0.04,0.242,0.092), (0.19,0.04,0.242,0.868), (0.672,0.04,0.724,0.092), (0.672,0.04,0.724,0.092), (0.672,0.04,0.724,0.092), (0.672,0.04,0.724,0.092), (0.672,0.04,0.724,0.092), (0.672,0.04,0.724,0.092), (0.672,0.04,0.724,0.092), (0.672,0.04,0.724,0.092), (0.672,0.04,0.724,0.092), (0.672,0.04,0.724,0.092), (0.672,0.04,0.724,0.092), (0.672,0.04,0.724,0.092), (0.672,0.04,0.724,0.874), (1.26,0.04,1.312,0.092), (1.26,0.04,1.312,0.092), (1.26,0.04,1.312,0.092), (1.26,0.04,1.312,0.092), (1.26,0.04,1.312,0.092), (1.26,0.04,1.312,0.092), (1.26,0.04,1.312,0.092), (1.26,0.04,1.312,0.092), (1.26,0.04,1.312,0.092), (1.26,0.04,1.312,0.092), (1.26,0.04,1.312,0.092), (1.26,0.04,1.312,0.092), (1.26,0.04,1.312,0.784), (2.112,0.04,2.164,0.092), (2.112,0.04,2.164,0.092), (2.112,0.04,2.164,0.092), (2.112,0.04,2.164,0.092), (2.112,0.04,2.164,0.092), (2.112,0.04,2.164,0.092), (2.112,0.04,2.164,0.092), (2.112,0.04,2.164,0.092), (2.112,0.04,2.164,0.092), (2.112,0.04,2.164,0.092), (2.112,0.04,2.164,0.092), (2.112,0.04,2.164,0.092), (2.112,0.04,2.164,0.812), (2.744,0.04,2.796,0.092), (2.744,0.04,2.796,0.092), (2.744,0.04,2.796,0.092), (2.744,0.04,2.796,0.092), (2.744,0.04,2.796,0.092), (2.744,0.04,2.796,0.092), (2.744,0.04,2.796,0.092), (2.744,0.04,2.796,0.092), (2.744,0.04,2.796,0.812), (3.662,0.04,3.714,0.092), (3.662,0.04,3.714,0.092), (3.662,0.04,3.714,0.092), (3.662,0.04,3.714,0.092), (3.662,0.04,3.714,0.48), (4.566,0.04,4.618,0.092), (4.566,0.04,4.618,0.092), (4.566,0.04,4.618,0.092), (4.566,0.04,4.618,0.092), (4.566,0.04,4.618,0.092), (4.566,0.04,4.618,0.092), (4.566,0.04,4.618,0.092), (4.566,0.04,4.618,0.092), (4.566,0.04,4.618,0.092), (4.566,0.04,4.618,0.092), (4.566,0.04,4.618,0.092), (4.566,0.04,4.618,0.092), (4.566,0.04,4.618,0.852), (3.662,0.428,3.714,0.48), (3.662,0.428,3.714,0.48), (3.662,0.428,3.714,0.48), (3.662,0.428,3.714,0.48), (3.662,0.428,3.714,0.648), (1.26,0.732,1.312,0.952), (2.112,0.76,2.22,0.812), (2.688,0.76,2.796,0.812), (4.566,0.8,4.618,1.02), (0.19,0.816,0.242,1.036), (0.672,0.822,0.724,1.042), (3.974,1.066,4.028,1.19), (4.134,1.066,4.186,1.19), (4.77,1.066,4.826,1.184), (3.252,1.072,3.31,1.18), (0.106,1.094,0.22,1.152), (0.134,1.094,0.186,1.146), (4.266,1.094,4.374,1.156), (4.586,1.094,4.71,1.156), (4.614,1.094,4.666,1.146), (4.774,1.094,4.826,1.146), (3.142,1.128,3.194,1.18), (3.142,1.128,3.194,1.18), (3.142,1.128,3.194,1.18), (3.142,1.128,3.194,1.18), (3.142,1.128,3.194,1.18), (3.142,1.128,3.304,1.18), (3.142,1.128,3.194,1.444), (3.252,1.128,3.304,1.18), (3.252,1.128,3.304,1.18), (3.014,1.184,3.066,1.334), (2.214,1.218,2.272,1.334), (2.374,1.218,2.436,1.334), (0.418,1.226,0.506,1.334), (0.57,1.226,0.666,1.334), (1.042,1.226,1.146,1.334), (2.506,1.246,2.618,1.306), (4.208,1.248,4.26,1.468), (0.454,1.254,0.506,1.306), (0.614,1.254,0.666,1.306), (1.094,1.254,1.146,1.306), (3.014,1.254,3.066,1.306), (2.694,1.386,2.812,1.55), (2.76,1.392,2.812,1.444), (2.76,1.392,2.812,1.444), (2.76,1.392,2.93,1.444), (2.878,1.392,2.93,1.444), (2.878,1.392,3.056,1.444), (3.004,1.392,3.056,1.444), (3.004,1.392,3.056,1.444), (3.004,1.392,3.056,1.612), (3.004,1.392,3.194,1.444), (3.142,1.392,3.194,1.444), (3.142,1.392,3.194,1.444), (3.142,1.392,3.194,1.444), (3.142,1.392,3.286,1.444), (3.234,1.392,3.286,1.444), (3.234,1.392,3.328,1.444), (3.276,1.392,3.384,1.444), (3.864,1.41,3.916,1.63), (1.066,1.414,1.228,1.466), (1.094,1.414,1.146,1.466), (2.694,1.414,2.746,1.466), (3.864,1.416,3.958,1.468), (3.906,1.416,3.958,1.468), (3.906,1.416,4.026,1.468), (3.974,1.416,4.026,1.468), (3.974,1.416,4.068,1.468), (4.016,1.416,4.068,1.468), (4.016,1.416,4.158,1.468), (4.106,1.416,4.158,1.468), (4.106,1.416,4.26,1.468), (4.702,1.448,4.754,1.668), (2.88,1.502,2.932,1.722), (3.124,1.502,3.232,1.666), (3.548,1.578,3.656,1.63), (3.604,1.578,3.656,1.63), (3.604,1.578,3.656,1.63), (3.604,1.578,3.782,1.63), (3.604,1.578,3.656,1.942), (3.73,1.578,3.782,1.63), (3.73,1.578,3.916,1.63), (3.124,1.614,3.176,1.666), (3.124,1.614,3.176,1.722), (3.13,1.614,3.182,1.942), (4.702,1.616,4.754,1.668), (4.702,1.616,4.754,1.668), (4.702,1.616,4.754,1.668), (4.702,1.616,4.754,1.668), (4.702,1.616,4.754,2.52), (2.88,1.67,2.932,1.722), (2.88,1.67,2.932,1.722), (2.88,1.67,3.176,1.722), (3.494,1.69,3.546,1.814), (3.494,1.734,3.546,1.786), (1.488,1.744,1.546,1.964), (0.896,1.8,0.948,1.908), (0.896,1.856,0.948,2.52), (1.184,1.856,1.292,1.908), (1.24,1.856,1.292,2.52), (3.13,1.89,3.182,1.942), (3.13,1.89,3.182,1.942), (3.13,1.89,3.182,1.942), (3.13,1.89,3.304,1.942), (3.252,1.89,3.304,1.942), (3.252,1.89,3.304,1.942), (3.252,1.89,3.304,1.942), (3.252,1.89,3.48,1.942), (3.428,1.89,3.48,1.942), (3.428,1.89,3.48,1.942), (3.428,1.89,3.48,1.942), (3.428,1.89,3.656,1.942), (3.604,1.89,3.656,1.942), (3.604,1.89,3.656,1.942), (3.604,1.89,3.656,1.942), (3.604,1.89,3.656,1.942), (3.604,1.89,3.656,1.942), (3.604,1.89,3.656,1.942), (3.604,1.89,3.656,1.942), (3.604,1.89,3.656,1.942), (3.604,1.89,3.656,1.942), (3.604,1.89,3.656,1.942), (3.604,1.89,3.656,1.942), (3.604,1.89,3.656,1.942), (3.604,1.89,3.656,1.942), (3.604,1.89,3.656,1.942), (3.604,1.89,3.656,1.942), (3.604,1.89,3.656,2.52), (1.494,1.912,1.546,2.52), (0.608,1.954,0.66,2.174), (0.28,1.982,0.388,2.146), (2.46,2,2.512,2.108), (2.46,2.056,2.512,2.52), (0.28,2.094,0.332,2.146), (0.28,2.094,0.332,2.146), (0.28,2.094,0.332,2.146), (0.28,2.094,0.332,2.146), (0.28,2.094,0.332,2.146), (0.28,2.094,0.332,2.146), (0.28,2.094,0.332,2.52), (0.608,2.122,0.66,2.174), (0.608,2.122,0.66,2.174), (0.608,2.122,0.66,2.174), (0.608,2.122,0.66,2.174), (0.608,2.122,0.66,2.174), (0.608,2.122,0.66,2.174), (0.608,2.122,0.66,2.52), (0,2.468,4.96,2.56), (0.28,2.468,0.332,2.52), (0.28,2.468,0.332,2.52), (0.608,2.468,0.66,2.52), (0.608,2.468,0.66,2.52), (0.896,2.468,0.948,2.52), (0.896,2.468,0.948,2.52), (0.896,2.468,0.948,2.52), (0.896,2.468,0.948,2.52), (0.896,2.468,0.948,2.52), (0.896,2.468,0.948,2.52), (0.896,2.468,0.948,2.52), (0.896,2.468,0.948,2.52), (1.24,2.468,1.292,2.52), (1.24,2.468,1.292,2.52), (1.24,2.468,1.292,2.52), (1.24,2.468,1.292,2.52), (1.24,2.468,1.292,2.52), (1.24,2.468,1.292,2.52), (1.24,2.468,1.292,2.52), (1.24,2.468,1.292,2.52), (1.24,2.468,1.292,2.52), (1.24,2.468,1.292,2.52), (1.24,2.468,1.292,2.52), (1.24,2.468,1.292,2.52), (1.24,2.468,1.292,2.52), (1.24,2.468,1.292,2.52), (1.24,2.468,1.292,2.52), (1.24,2.468,1.292,2.52), (1.494,2.468,1.546,2.52), (1.494,2.468,1.546,2.52), (1.494,2.468,1.546,2.52), (1.494,2.468,1.546,2.52), (1.494,2.468,1.546,2.52), (1.494,2.468,1.546,2.52), (1.494,2.468,1.546,2.52), (1.494,2.468,1.546,2.52), (2.46,2.468,2.512,2.52), (2.46,2.468,2.512,2.52), (2.46,2.468,2.512,2.52), (2.46,2.468,2.512,2.52), (2.46,2.468,2.512,2.52), (2.46,2.468,2.512,2.52), (2.46,2.468,2.512,2.52), (2.46,2.468,2.512,2.52), (4.702,2.468,4.754,2.52), (4.702,2.468,4.754,2.52), (4.702,2.468,4.754,2.52), (4.702,2.468,4.754,2.52), (4.702,2.468,4.754,2.52), (4.702,2.468,4.754,2.52), (4.702,2.468,4.754,2.52), (4.702,2.468,4.754,2.52), (4.702,2.468,4.754,2.52), (4.702,2.468,4.754,2.52), (4.702,2.468,4.754,2.52), (4.702,2.468,4.754,2.52)])
R(complex25, boundary, [(0,0,4.96,2.56)])
complex25.add(gdstk.Label('CL1#A', (0.64,1.28), layer=11, texttype=0))
complex25.add(gdstk.Label('CL1#B', (0.48,1.28), layer=11, texttype=0))
complex25.add(gdstk.Label('CL1#C', (0.16,1.12), layer=11, texttype=0))
complex25.add(gdstk.Label('CL2#A', (1.12,1.44), layer=11, texttype=0))
complex25.add(gdstk.Label('CL2#B', (1.12,1.28), layer=11, texttype=0))
complex25.add(gdstk.Label('CL3#A', (4.32,1.12), layer=11, texttype=0))
complex25.add(gdstk.Label('CL3#B', (3.52,1.76), layer=11, texttype=0))
complex25.add(gdstk.Label('CL4#A', (2.56,1.28), layer=11, texttype=0))
complex25.add(gdstk.Label('CL4#B', (2.4,1.28), layer=11, texttype=0))
complex25.add(gdstk.Label('CL4#C', (2.24,1.28), layer=11, texttype=0))
complex25.add(gdstk.Label('CL5#B', (3.04,1.28), layer=11, texttype=0))
complex25.add(gdstk.Label('CL5#Y', (2.72,1.44), layer=11, texttype=0))
complex25.add(gdstk.Label('CL6#B', (4.16,1.12), layer=11, texttype=0))
complex25.add(gdstk.Label('CL6#C', (4,1.12), layer=11, texttype=0))
complex25.add(gdstk.Label('CL7#A', (4.64,1.12), layer=11, texttype=0))
complex25.add(gdstk.Label('CL7#B', (4.8,1.12), layer=11, texttype=0))

lib.write_gds('COMPLEX25.gds')
